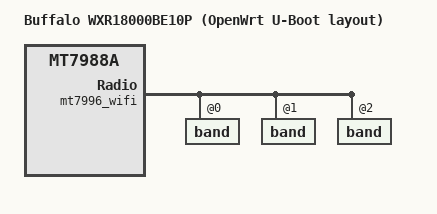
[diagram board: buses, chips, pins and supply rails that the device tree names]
// SPDX-License-Identifier: (GPL-2.0 OR MIT)

#include "mt7988a-buffalo-wxr18000be10p.dtsi"

/ {
    model = "Buffalo WXR18000BE10P (OpenWrt U-Boot layout)";
    compatible = "buffalo,wxr18000be10p-ubootmod", "mediatek,mt7988a";

    chosen {
        rootdisk = <&ubi_rootdisk>;
        stdout-path = "serial0:115200n1";
    };
};

&spi_nand {
	partitions {
		compatible = "fixed-partitions";
		#address-cells = <1>;
		#size-cells = <1>;

		partition@0 {
			reg = <0x0 0x200000>;
			label = "bl2";
			read-only;
		};

		partition@100000 {
			reg = <0x200000 0xfe00000>;
			label = "UBI_DEV";
            compatible = "linux,ubi";

            volumes {
				ubi-volume-ubootenv {
					volname = "ubootenv";
					nvmem-layout {
						compatible = "u-boot,env-redundant-bool";
					};
				};

				ubi-volume-ubootenv2 {
					volname = "ubootenv2";
					nvmem-layout {
						compatible = "u-boot,env-redundant-bool";
					};
				};

				ubi_rootdisk: ubi-volume-fit {
					volname = "fit";
				};

				ubi_factory: ubi-volume-factory {
					volname = "factory";
				};
			};
		};
	};
};

&ubi_factory {
    BUFFALO_WXR18000BE10P_FACTORY_LAYOUT;
};

&gmac0 {
    nvmem-cells = <&macaddr_factory_ffff4>;
    nvmem-cell-names = "mac-address";
};

&gmac1 {
    nvmem-cells = <&macaddr_factory_ffff4>;
    nvmem-cell-names = "mac-address";
};

&gmac2 {
    nvmem-cells = <&macaddr_factory_ffff4>;
    nvmem-cell-names = "mac-address";
};

&mt7996_wifi {
    #address-cells = <1>;
    #size-cells = <0>;
    nvmem-cells = <&eeprom_factory_0>;
    nvmem-cell-names = "eeprom";
	
    band@0 {
        /* 2.4 GHz */
        reg = <0>;
        nvmem-cells = <&macaddr_factory_4>;
        nvmem-cell-names = "mac-address";
    };

    band@1 {
        /* 5 GHz */
        reg = <1>;
        nvmem-cells = <&macaddr_factory_a>;
        nvmem-cell-names = "mac-address";
    };

    band@2 {
        /* 6 GHz */
        reg = <2>;
        nvmem-cells = <&macaddr_factory_2c0>;
        nvmem-cell-names = "mac-address";
    };
};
